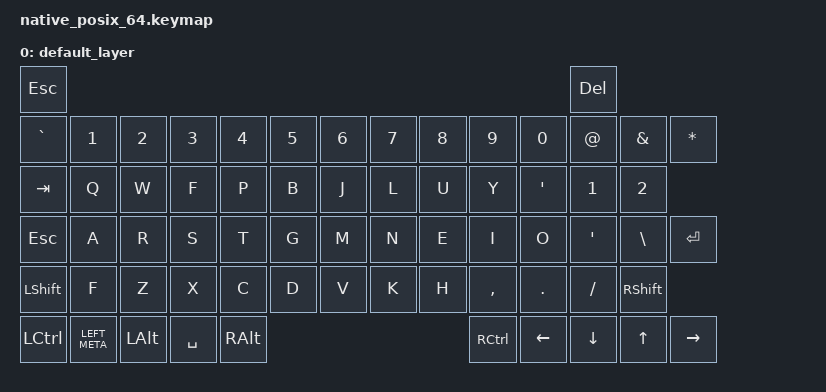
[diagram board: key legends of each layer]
// Copyright 2022 Manna Harbour
// https://github.com/manna-harbour/xmk

#include <behaviors.dtsi>
#include <dt-bindings/zmk/keys.h>

/ {
  keymap {
    compatible = "zmk,keymap";
    default_layer {
      bindings = <

&kp ESC                                                                                                                               &kp DEL
&kp GRAVE            &kp 1     &kp 2     &kp 3     &kp 4     &kp 5                &kp 6     &kp 7     &kp 8     &kp 9     &kp 0       &kp AT_SIGN &kp AMPERSAND &kp ASTERISK
&kp TAB              &kp Q     &kp W     &kp F     &kp P     &kp B                &kp J     &kp L     &kp U     &kp Y     &kp SQT     &kp 1 &kp 2
&kp ESC              &kp A     &kp R     &kp S     &kp T     &kp G                &kp M     &kp N     &kp E     &kp I     &kp O       &kp APOS &kp BSLH &kp RET
&kp LEFT_SHIFT &kp F &kp Z     &kp X     &kp C     &kp D     &kp V                &kp K     &kp H     &kp COMMA &kp DOT   &kp SLASH   &kp RIGHT_SHIFT
&kp LEFT_CONTROL &kp LEFT_META &kp LEFT_ALT                           &kp SPACE             &kp RIGHT_ALT  &kp RIGHT_CONTROL &kp LEFT &kp DOWN &kp UP &kp RIGHT

      >;
    };
  };
};
